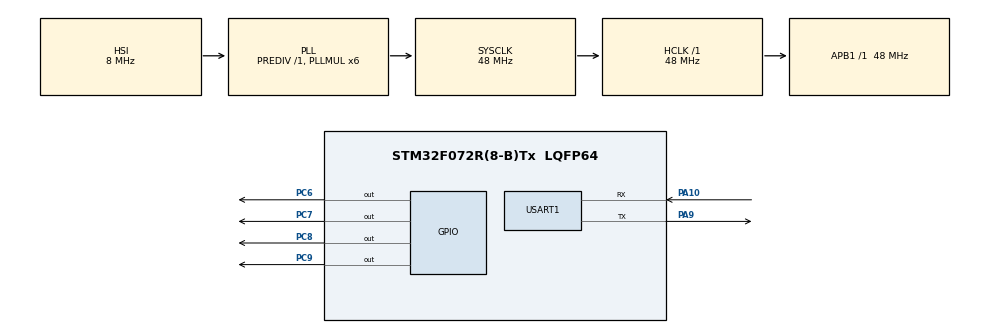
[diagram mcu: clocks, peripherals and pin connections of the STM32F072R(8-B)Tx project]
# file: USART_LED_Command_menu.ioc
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Mcu.Family=STM32F0
Mcu.Name=STM32F072R(8-B)Tx
Mcu.Package=LQFP64
NVIC.USART1_IRQn=true\:0\:0\:false\:false\:true\:true\:true\:true
PA10.Mode=Asynchronous
PA10.Signal=USART1_RX
PA9.Mode=Asynchronous
PA9.Signal=USART1_TX
PC6.Signal=GPIO_Output
PC7.Signal=GPIO_Output
PC8.Signal=GPIO_Output
PC9.Signal=GPIO_Output
PF0-OSC_IN.Mode=HSE-External-Oscillator
PF0-OSC_IN.Signal=RCC_OSC_IN
PF1-OSC_OUT.Mode=HSE-External-Oscillator
PF1-OSC_OUT.Signal=RCC_OSC_OUT
ProjectManager.HeapSize=0x200
ProjectManager.StackSize=0x400
ProjectManager.TargetToolchain=STM32CubeIDE
RCC.AHBFreq_Value=48000000
RCC.APB1Freq_Value=48000000
RCC.APB1TimFreq_Value=48000000
RCC.HCLKFreq_Value=48000000
RCC.PLLMUL=RCC_PLL_MUL6
RCC.SYSCLKFreq_VALUE=48000000
RCC.SYSCLKSource=RCC_SYSCLKSOURCE_PLLCLK
USART1.VirtualMode-Asynchronous=VM_ASYNC
board=STM32F072B-DISCO

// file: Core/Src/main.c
/* USER CODE BEGIN Header */
/**
  ******************************************************************************
  * @file           : main.c
  * @brief          : Main program body
  ******************************************************************************
  * @attention
  *
  * Copyright (c) 2023 STMicroelectronics.
  * All rights reserved.
  *
  * This software is licensed under terms that can be found in the LICENSE file
  * in the root directory of this software component.
  * If no LICENSE file comes with this software, it is provided AS-IS.
  *
  ******************************************************************************
  */
/* USER CODE END Header */
#include "main.h"
#include <string.h>

UART_HandleTypeDef huart1;

void SystemClock_Config(void);
static void MX_GPIO_Init(void);
static void MX_USART1_UART_Init(void);

/* USER CODE BEGIN 0 */
void print_menu(void)
{
    char menu[] = "\r\nMenu:\r\n1. Red LED\r\n2. Blue LED\r\n3. Orange LED\r\n4. Green LED\r\n5. All LEDs off\r\nEnter your choice (1-5): ";
    HAL_UART_Transmit(&huart1, (uint8_t *)menu, strlen(menu), HAL_MAX_DELAY);
}
void process_menu_choice(uint8_t choice)
{
    switch (choice)
    {
        case '1':
            // Red LED
            HAL_GPIO_WritePin(GPIOC, GPIO_PIN_6, GPIO_PIN_SET);
            break;
        case '2':
            // Blue LED
            HAL_GPIO_WritePin(GPIOC, GPIO_PIN_7, GPIO_PIN_SET);
            break;
        case '3':
            // Orange LED
            HAL_GPIO_WritePin(GPIOC, GPIO_PIN_8, GPIO_PIN_SET);
            break;
        case '4':
            // Green LED
            HAL_GPIO_WritePin(GPIOC, GPIO_PIN_9, GPIO_PIN_SET);
            break;
        case '5':
            // All LEDs off
        	HAL_GPIO_WritePin(GPIOC, GPIO_PIN_6 | GPIO_PIN_7 | GPIO_PIN_8 | GPIO_PIN_9, GPIO_PIN_RESET);
        	            break;
        	        default:
        	            // Invalid choice
        	            break;
        	    }
        	}
void process_received_data(uint8_t data)
{
    print_menu();
    process_menu_choice(data);
}
/* USER CODE END 0 */

int main(void)
{

  /* MCU Configuration--------------------------------------------------------*/

  /* Reset of all peripherals, Initializes the Flash interface and the Systick. */
  HAL_Init();

  /* Configure the system clock */
  SystemClock_Config();

  /* Initialize all configured peripherals */
  MX_GPIO_Init();
  MX_USART1_UART_Init();

  /* Infinite loop */
  while (1)
  {

    /* USER CODE BEGIN 3 */
	  print_menu();

	      if (HAL_UART_Receive(&huart1, &received_data, 1, HAL_MAX_DELAY) == HAL_OK)
	      {
	          process_received_data(received_data);
	      }

  }
  /* USER CODE END 3 */
}

void SystemClock_Config(void)
{
  RCC_OscInitTypeDef RCC_OscInitStruct = {0};
  RCC_ClkInitTypeDef RCC_ClkInitStruct = {0};
  RCC_PeriphCLKInitTypeDef PeriphClkInit = {0};

  /** Initializes the RCC Oscillators according to the specified parameters
  * in the RCC_OscInitTypeDef structure.
  */
  RCC_OscInitStruct.OscillatorType = RCC_OSCILLATORTYPE_HSI;
  RCC_OscInitStruct.HSIState = RCC_HSI_ON;
  RCC_OscInitStruct.HSICalibrationValue = RCC_HSICALIBRATION_DEFAULT;
  RCC_OscInitStruct.PLL.PLLState = RCC_PLL_ON;
  RCC_OscInitStruct.PLL.PLLSource = RCC_PLLSOURCE_HSI;
  RCC_OscInitStruct.PLL.PLLMUL = RCC_PLL_MUL6;
  RCC_OscInitStruct.PLL.PREDIV = RCC_PREDIV_DIV1;
  if (HAL_RCC_OscConfig(&RCC_OscInitStruct) != HAL_OK)
  {
    Error_Handler();
  }

  /** Initializes the CPU, AHB and APB buses clocks
  */
  RCC_ClkInitStruct.ClockType = RCC_CLOCKTYPE_HCLK|RCC_CLOCKTYPE_SYSCLK
                              |RCC_CLOCKTYPE_PCLK1;
  RCC_ClkInitStruct.SYSCLKSource = RCC_SYSCLKSOURCE_PLLCLK;
  RCC_ClkInitStruct.AHBCLKDivider = RCC_SYSCLK_DIV1;
  RCC_ClkInitStruct.APB1CLKDivider = RCC_HCLK_DIV1;

  if (HAL_RCC_ClockConfig(&RCC_ClkInitStruct, FLASH_LATENCY_1) != HAL_OK)
  {
    Error_Handler();
  }
  PeriphClkInit.PeriphClockSelection = RCC_PERIPHCLK_USART1;
  PeriphClkInit.Usart1ClockSelection = RCC_USART1CLKSOURCE_PCLK1;
  if (HAL_RCCEx_PeriphCLKConfig(&PeriphClkInit) != HAL_OK)
  {
    Error_Handler();
  }
}

static void MX_USART1_UART_Init(void)
{

  huart1.Instance = USART1;
  huart1.Init.BaudRate = 38400;
  huart1.Init.WordLength = UART_WORDLENGTH_8B;
  huart1.Init.StopBits = UART_STOPBITS_1;
  huart1.Init.Parity = UART_PARITY_NONE;
  huart1.Init.Mode = UART_MODE_TX_RX;
  huart1.Init.HwFlowCtl = UART_HWCONTROL_NONE;
  huart1.Init.OverSampling = UART_OVERSAMPLING_16;
  huart1.Init.OneBitSampling = UART_ONE_BIT_SAMPLE_DISABLE;
  huart1.AdvancedInit.AdvFeatureInit = UART_ADVFEATURE_NO_INIT;
  if (HAL_UART_Init(&huart1) != HAL_OK)
  {
    Error_Handler();
  }

}

static void MX_GPIO_Init(void)
{
  GPIO_InitTypeDef GPIO_InitStruct = {0};

  /* GPIO Ports Clock Enable */
  __HAL_RCC_GPIOF_CLK_ENABLE();
  __HAL_RCC_GPIOC_CLK_ENABLE();
  __HAL_RCC_GPIOA_CLK_ENABLE();

  /*Configure GPIO pin Output Level */
  HAL_GPIO_WritePin(GPIOC, GPIO_PIN_6|GPIO_PIN_7|GPIO_PIN_8|GPIO_PIN_9, GPIO_PIN_RESET);

  /*Configure GPIO pins : PC6 PC7 PC8 PC9 */
  GPIO_InitStruct.Pin = GPIO_PIN_6|GPIO_PIN_7|GPIO_PIN_8|GPIO_PIN_9;
  GPIO_InitStruct.Mode = GPIO_MODE_OUTPUT_PP;
  GPIO_InitStruct.Pull = GPIO_NOPULL;
  GPIO_InitStruct.Speed = GPIO_SPEED_FREQ_LOW;
  HAL_GPIO_Init(GPIOC, &GPIO_InitStruct);

}

void Error_Handler(void)
{
  __disable_irq();
  while (1)
  {
  }
}
